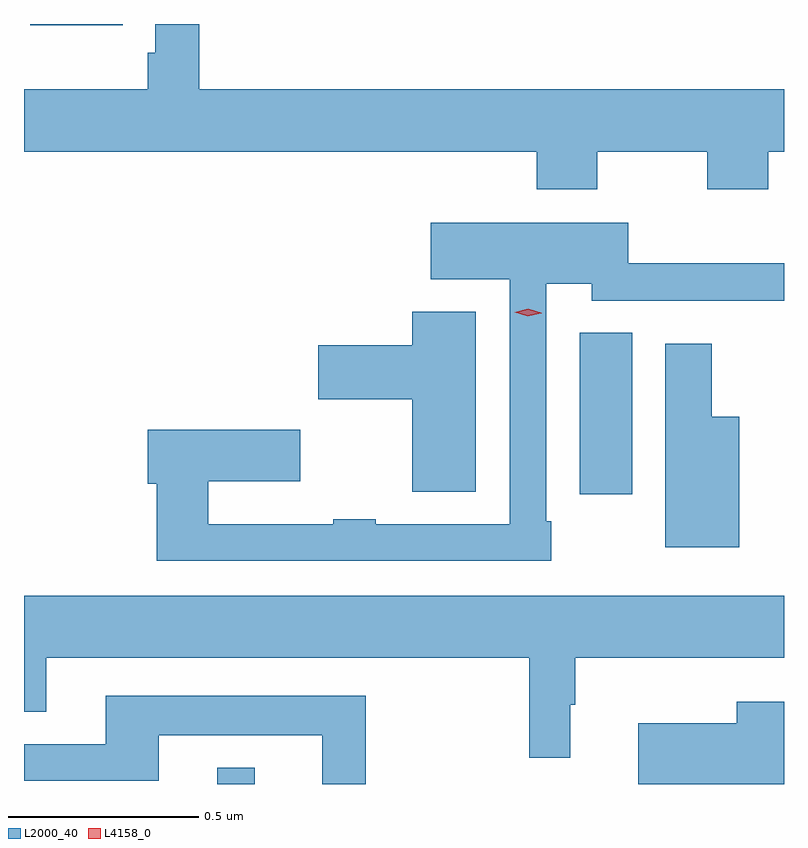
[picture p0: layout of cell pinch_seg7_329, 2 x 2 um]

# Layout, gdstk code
import gdstk
lib = gdstk.Library(unit=1e-6, precision=1e-09)
def R(c, l, rs):  # rectangles x0, y0, x1, y1
    for r in rs: c.add(gdstk.rectangle(r[:2], r[2:], *l))
def P(c, l, *ps):  # polygons
    for p in ps: c.add(gdstk.Polygon(p, *l))
L2000_40 = (2000, 40)
L4158_0 = (4158, 0)

pinch_seg7_329 = lib.new_cell('pinch_seg7_329')
R(pinch_seg7_329, L2000_40, [(586.871,1054.896,586.969,1054.939), (587.825,1055.658,587.962,1056.083), (586.379,1056.893,586.622,1056.896)])
P(pinch_seg7_329, L2000_40, [(587.871,1056.56),(588.16,1056.56),(588.16,1056.461),(588.32,1056.461),(588.32,1056.56),(588.362,1056.56),(588.362,1056.724),(586.823,1056.724),(586.823,1056.896),(586.707,1056.896),(586.707,1056.82),(586.687,1056.82),(586.687,1056.724),(586.362,1056.724),(586.362,1056.56),(587.711,1056.56),(587.711,1056.461),(587.871,1056.461)],
  [(587.749,1055.587),(587.736,1055.587),(587.736,1056.212),(587.856,1056.212),(587.856,1056.168),(588.362,1056.168),(588.362,1056.266),(587.952,1056.266),(587.952,1056.373),(587.433,1056.373),(587.433,1056.224),(587.64,1056.224),(587.64,1055.58),(587.288,1055.58),(587.288,1055.593),(587.176,1055.593),(587.176,1055.58),(586.847,1055.58),(586.847,1055.693),(587.089,1055.693),(587.089,1055.828),(586.688,1055.828),(586.688,1055.686),(586.711,1055.686),(586.711,1055.484),(587.749,1055.484)],
  [(587.551,1056.139),(587.384,1056.139),(587.384,1056.05),(587.136,1056.05),(587.136,1055.908),(587.384,1055.908),(587.384,1055.665),(587.551,1055.665)],
  [(588.244,1055.863),(588.172,1055.863),(588.172,1056.055),(588.05,1056.055),(588.05,1055.519),(588.244,1055.519)],
  [(587.8,1055.105),(587.812,1055.105),(587.812,1055.228),(588.362,1055.228),(588.362,1055.392),(586.362,1055.392),(586.362,1055.086),(586.42,1055.086),(586.42,1055.228),(587.691,1055.228),(587.691,1054.965),(587.8,1054.965)],
  [(587.261,1055.128),(586.577,1055.128),(586.577,1055.001),(586.362,1055.001),(586.362,1054.905),(586.717,1054.905),(586.717,1055.024),(587.147,1055.024),(587.147,1054.896),(587.261,1054.896)],
  [(588.362,1055.113),(588.237,1055.113),(588.237,1055.056),(587.978,1055.056),(587.978,1054.896),(588.362,1054.896)])
P(pinch_seg7_329, L4158_0, [(587.688,1056.127),(587.654,1056.138),(587.654,1056.138),(587.654,1056.138),(587.689,1056.147),(587.723,1056.136),(587.724,1056.135),(587.723,1056.135)])

lib.write_gds('pinch_seg7_329.gds')
